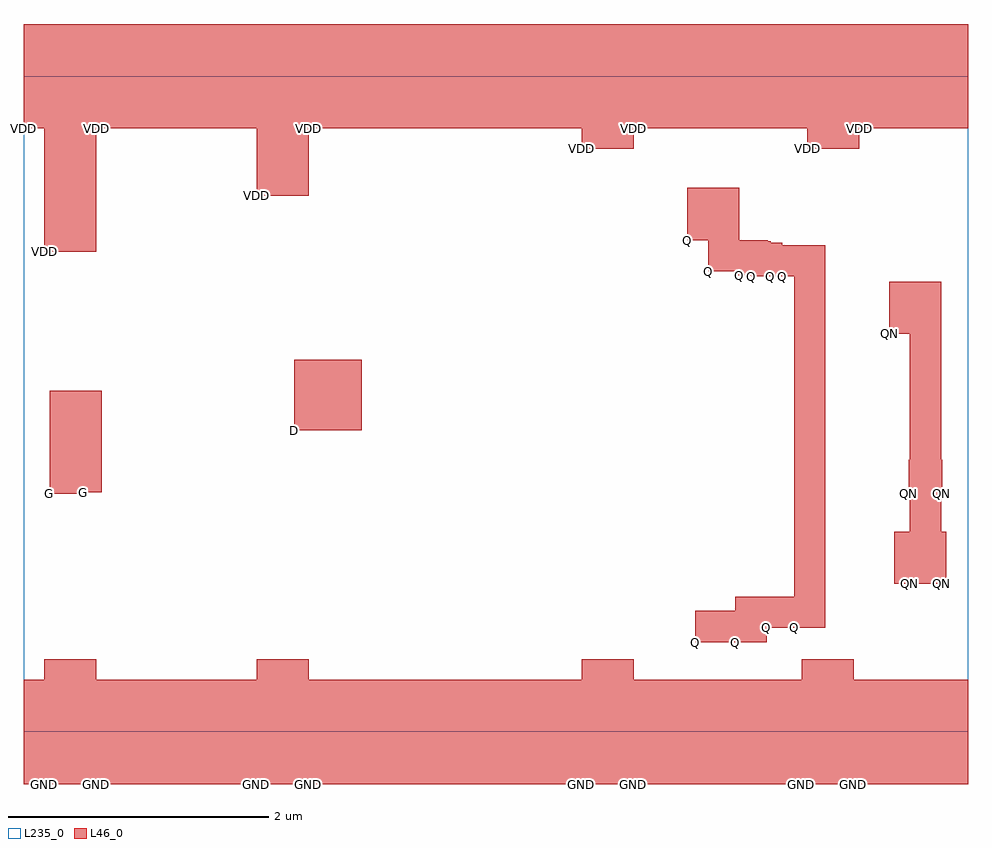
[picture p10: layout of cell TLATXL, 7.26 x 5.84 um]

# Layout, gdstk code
import gdstk
lib = gdstk.Library(unit=1e-6, precision=1e-09)
def R(c, l, rs):  # rectangles x0, y0, x1, y1
    for r in rs: c.add(gdstk.rectangle(r[:2], r[2:], *l))
L46_0 = (46, 0)
L235_0 = (235, 0)

tlatxl = lib.new_cell('TLATXL')
R(tlatxl, L46_0, [(0,-0.4,0.16,0.4), (0.16,-0.4,0.56,0.56), (0.56,-0.4,1.79,0.4), (1.79,-0.4,2.19,0.56), (2.19,-0.4,4.29,0.4), (4.29,-0.4,4.69,0.56), (4.69,-0.4,5.98,0.4), (5.98,-0.4,6.38,0.56), (6.38,-0.4,7.26,0.4), (5.16,0.69,5.47,0.93), (5.47,0.69,5.71,1.04), (5.71,0.8,5.92,1.04), (5.92,0.8,6.16,3.74), (6.69,1.14,6.81,1.54), (6.81,1.14,7.05,3.46), (7.05,1.14,7.09,1.54), (0.2,1.83,0.46,2.62), (6.8,1.83,6.81,2.09), (7.05,1.83,7.06,2.09), (0.46,1.84,0.6,2.62), (2.08,2.32,2.6,2.86), (6.65,3.06,6.81,3.46), (5.59,3.5,5.72,3.78), (5.72,3.5,5.74,3.77), (5.74,3.5,5.83,3.76), (5.83,3.5,5.92,3.74), (5.48,3.51,5.5,4.18), (5.5,3.51,5.59,3.78), (5.26,3.54,5.48,4.18), (0.16,3.69,0.56,5.44), (5.1,3.78,5.26,4.18), (1.79,4.12,2.19,5.44), (4.29,4.48,4.69,5.44), (6.02,4.48,6.42,5.44), (0,4.64,0.16,5.44), (0.56,4.64,1.79,5.44), (2.19,4.64,4.29,5.44), (4.69,4.64,6.02,5.44), (6.42,4.64,7.26,5.44)])
R(tlatxl, L235_0, [(0,0,7.26,5.04)])
tlatxl.add(gdstk.Label('QN', (7.05,1.14), layer=101, texttype=0))
tlatxl.add(gdstk.Label('QN', (7.05,1.83), layer=101, texttype=0))
tlatxl.add(gdstk.Label('QN', (6.81,1.14), layer=101, texttype=0))
tlatxl.add(gdstk.Label('QN', (6.69,1.14), layer=101, texttype=0))
tlatxl.add(gdstk.Label('QN', (6.8,1.83), layer=101, texttype=0))
tlatxl.add(gdstk.Label('QN', (6.65,3.06), layer=101, texttype=0))
tlatxl.add(gdstk.Label('Q', (5.92,0.8), layer=101, texttype=0))
tlatxl.add(gdstk.Label('Q', (5.71,0.8), layer=101, texttype=0))
tlatxl.add(gdstk.Label('Q', (5.83,3.5), layer=101, texttype=0))
tlatxl.add(gdstk.Label('Q', (5.74,3.5), layer=101, texttype=0))
tlatxl.add(gdstk.Label('Q', (5.72,3.5), layer=101, texttype=0))
tlatxl.add(gdstk.Label('Q', (5.59,3.5), layer=101, texttype=0))
tlatxl.add(gdstk.Label('Q', (5.47,0.69), layer=101, texttype=0))
tlatxl.add(gdstk.Label('Q', (5.5,3.51), layer=101, texttype=0))
tlatxl.add(gdstk.Label('Q', (5.48,3.51), layer=101, texttype=0))
tlatxl.add(gdstk.Label('Q', (5.26,3.54), layer=101, texttype=0))
tlatxl.add(gdstk.Label('Q', (5.16,0.69), layer=101, texttype=0))
tlatxl.add(gdstk.Label('Q', (5.1,3.78), layer=101, texttype=0))
tlatxl.add(gdstk.Label('G', (0.46,1.84), layer=101, texttype=0))
tlatxl.add(gdstk.Label('G', (0.2,1.83), layer=101, texttype=0))
tlatxl.add(gdstk.Label('D', (2.08,2.32), layer=101, texttype=0))
tlatxl.add(gdstk.Label('VDD', (6.42,4.64), layer=101, texttype=0))
tlatxl.add(gdstk.Label('VDD', (6.02,4.48), layer=101, texttype=0))
tlatxl.add(gdstk.Label('VDD', (4.69,4.64), layer=101, texttype=0))
tlatxl.add(gdstk.Label('VDD', (4.29,4.48), layer=101, texttype=0))
tlatxl.add(gdstk.Label('VDD', (2.19,4.64), layer=101, texttype=0))
tlatxl.add(gdstk.Label('VDD', (1.79,4.12), layer=101, texttype=0))
tlatxl.add(gdstk.Label('VDD', (0.56,4.64), layer=101, texttype=0))
tlatxl.add(gdstk.Label('VDD', (0.16,3.69), layer=101, texttype=0))
tlatxl.add(gdstk.Label('VDD', (0,4.64), layer=101, texttype=0))
tlatxl.add(gdstk.Label('GND', (6.38,-0.4), layer=101, texttype=0))
tlatxl.add(gdstk.Label('GND', (5.98,-0.4), layer=101, texttype=0))
tlatxl.add(gdstk.Label('GND', (4.69,-0.4), layer=101, texttype=0))
tlatxl.add(gdstk.Label('GND', (4.29,-0.4), layer=101, texttype=0))
tlatxl.add(gdstk.Label('GND', (2.19,-0.4), layer=101, texttype=0))
tlatxl.add(gdstk.Label('GND', (1.79,-0.4), layer=101, texttype=0))
tlatxl.add(gdstk.Label('GND', (0.56,-0.4), layer=101, texttype=0))
tlatxl.add(gdstk.Label('GND', (0.16,-0.4), layer=101, texttype=0))
tlatxl.add(gdstk.Label('GND', (0,-0.4), layer=101, texttype=0))

lib.write_gds('TLATXL.gds')
